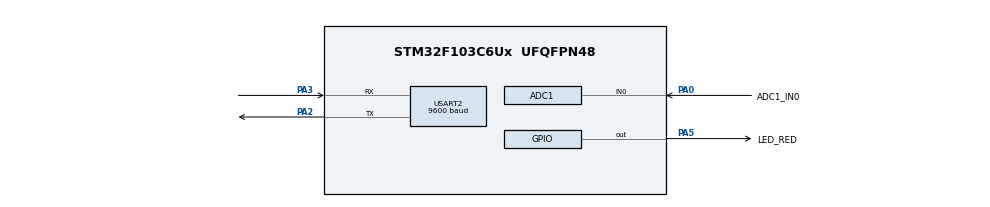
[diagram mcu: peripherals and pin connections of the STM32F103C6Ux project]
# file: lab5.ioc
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ADC1.Channel-1\#ChannelRegularConversion=ADC_CHANNEL_0
ADC1.ContinuousConvMode=ENABLE
ADC1.NbrOfConversionFlag=1
ADC1.Rank-1\#ChannelRegularConversion=1
ADC1.SamplingTime-1\#ChannelRegularConversion=ADC_SAMPLETIME_1CYCLE_5
ADC1.master=1
Mcu.Family=STM32F1
Mcu.Name=STM32F103C6Ux
Mcu.Package=UFQFPN48
NVIC.PriorityGroup=NVIC_PRIORITYGROUP_4
NVIC.TIM2_IRQn=true\:0\:0\:false\:false\:true\:true\:true
NVIC.USART2_IRQn=true\:0\:0\:false\:false\:true\:true\:true
PA0-WKUP.GPIO_Label=ADC1_IN0
PA0-WKUP.Signal=SharedAnalog_PA0
PA2.Mode=Asynchronous
PA2.Signal=USART2_TX
PA3.Mode=Asynchronous
PA3.Signal=USART2_RX
PA5.GPIO_Label=LED_RED
PA5.Signal=GPIO_Output
ProjectManager.HeapSize=0x200
ProjectManager.StackSize=0x400
ProjectManager.TargetToolchain=STM32CubeIDE
RCC.APB1Freq_Value=8000000
RCC.APB2Freq_Value=8000000
SH.SharedAnalog_PA0.0=GPIO_Analog
SH.SharedAnalog_PA0.1=ADC1_IN0,IN0
TIM2.Period=9
TIM2.Prescaler=7999
USART2.BaudRate=9600
USART2.VirtualMode=VM_ASYNC
VP_SYS_VS_ND.Mode=No_Debug
VP_TIM2_VS_ClockSourceINT.Mode=Internal
board=custom

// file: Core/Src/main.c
/* USER CODE BEGIN Header */
/**
  ******************************************************************************
  * @file           : main.c
  * @brief          : Main program body
  ******************************************************************************
  * @attention
  *
  * <h2><center>&copy; Copyright (c) 2022 STMicroelectronics.
  * All rights reserved.</center></h2>
  *
  * This software component is licensed by ST under BSD 3-Clause license,
  * the "License"; You may not use this file except in compliance with the
  * License. You may obtain a copy of the License at:
  *                        opensource.org/licenses/BSD-3-Clause
  *
  ******************************************************************************
  */
/* USER CODE END Header */
#include "main.h"

/* USER CODE BEGIN Includes */
#include <stdio.h>
#include "software_timer.h"
#include "global.h"
/* USER CODE END Includes */

ADC_HandleTypeDef hadc1;

TIM_HandleTypeDef htim2;

UART_HandleTypeDef huart2;

void SystemClock_Config(void);
static void MX_GPIO_Init(void);
static void MX_ADC1_Init(void);
static void MX_USART2_UART_Init(void);
static void MX_TIM2_Init(void);

/* USER CODE BEGIN 0 */
#define MAX_BUFFER_SIZE 30
uint8_t temp = 0;
uint8_t buffer[MAX_BUFFER_SIZE];
uint8_t index_buffer=0;
uint8_t buffer_flag=0;

void HAL_UART_RxCpltCallback ( UART_HandleTypeDef * huart ) {
if( huart -> Instance == USART2 ) {
     HAL_UART_Transmit (& huart2 , & temp , 1 , 50) ;
	 buffer[index_buffer++]=temp;
	 if(index_buffer == MAX_BUFFER_SIZE){
		 index_buffer=0;
	 }
	 buffer_flag=1;
	 HAL_UART_Receive_IT (& huart2 , & temp , 1) ;
}
}

int status_mess = INIT ;
int messenger = INIT ;
void command_parser(){
	int index = 0;
	if(!index_buffer) index = MAX_BUFFER_SIZE - 1 ;
	if(index_buffer)  index = index_buffer - 1 ;
	switch (status_mess) {
		case INIT:
			if(buffer[index] == '!') status_mess = _;
			break;
		case _:
			if(buffer[index] == '!') status_mess = _;
			else if (buffer[index] == 'R') status_mess = _R;
			else if (buffer[index] == 'O') status_mess = _O ;
			else status_mess = INIT;
			break;
		case _R:
			if(buffer[index] == 'S') status_mess = _RS;
			else status_mess = INIT ;
			break ;
		case _RS:
			if(buffer[index] == 'T') status_mess = _RST;
			else status_mess = INIT ;
			break;
		case _RST:
			if(buffer[index] == '#') {
				status_mess = _RST_;
				messenger = SEND ;
			}
			else status_mess = INIT  ;
			break;
		case _RST_:
			if(buffer[index]=='!') status_mess=_;
			if(buffer[index]!='!') status_mess=INIT;
//			messenger = INIT;
			break;
		case _O:
			if(buffer[index] == 'K') status_mess = _OK;
			else status_mess = INIT;
			break;
		case _OK:
			if(buffer[index] == '#') {
				status_mess = _OK_;
				messenger = END ;
			}
			else status_mess = INIT;
			break;
		case _OK_:
			if(buffer[index]=='!') status_mess=_;
			if(buffer[index]!='!') status_mess=INIT;
			break;
		default:
			break;
	}
}
uint32_t ADC_value = -99 ;
uint32_t ADC_temp =  -99 ;
char str[20] ;
void fsm_communication_uart(){
	switch (messenger) {
		case INIT:
			break;
		case SEND:
			ADC_value = HAL_ADC_GetValue (&hadc1) ;
			ADC_temp = ADC_value;
			HAL_UART_Transmit(&huart2, (void*)str, sprintf(str, "\r\n!ADC=%ld#\r\n",ADC_value), 1000);
			if(status_mess == _OK_){
				messenger = END;
			}else{
				setTimer1(3000);
				messenger = WAIT;
			}
			break;
		case END:
			HAL_UART_Transmit(&huart2, (void*)str, sprintf(str, "\r\n%s\r\n", "END"), 1000);
			messenger = INIT ;
			break;
		case WAIT:
			if(timer1_flag >= 1) {
				setTimer1(3000) ;
				if(ADC_temp == -99){
					HAL_UART_Transmit(&huart2, (void*)str, sprintf(str, "\r\n!ADC=%ld#\r\n",ADC_temp), 1000);
				}else{
					HAL_UART_Transmit(&huart2, (void*)str, sprintf(str, "\r\n!ADC=%ld#\r\n",ADC_value), 1000);
				}

			}
			break;
		default:
			break;
	}
}
/* USER CODE END 0 */

int main(void)
{

  /* MCU Configuration--------------------------------------------------------*/

  /* Reset of all peripherals, Initializes the Flash interface and the Systick. */
  HAL_Init();

  /* Configure the system clock */
  SystemClock_Config();

  /* Initialize all configured peripherals */
  MX_GPIO_Init();
  MX_ADC1_Init();
  MX_USART2_UART_Init();
  MX_TIM2_Init();
  /* USER CODE BEGIN 2 */
  HAL_TIM_Base_Start_IT(&htim2);
  HAL_UART_Receive_IT(&huart2, &temp, 1);
  HAL_ADC_Start(&hadc1);
  /* USER CODE END 2 */

  /* Infinite loop */
  /* USER CODE BEGIN WHILE */
//  setTimer1(1000) ;

  while (1){

    /* USER CODE END WHILE */
	  if(buffer_flag == 1){
		  command_parser();
		  buffer_flag = 0;
	  }
	  fsm_communication_uart();
  }
}

void SystemClock_Config(void)
{
  RCC_OscInitTypeDef RCC_OscInitStruct = {0};
  RCC_ClkInitTypeDef RCC_ClkInitStruct = {0};
  RCC_PeriphCLKInitTypeDef PeriphClkInit = {0};

  /** Initializes the RCC Oscillators according to the specified parameters
  * in the RCC_OscInitTypeDef structure.
  */
  RCC_OscInitStruct.OscillatorType = RCC_OSCILLATORTYPE_HSI;
  RCC_OscInitStruct.HSIState = RCC_HSI_ON;
  RCC_OscInitStruct.HSICalibrationValue = RCC_HSICALIBRATION_DEFAULT;
  RCC_OscInitStruct.PLL.PLLState = RCC_PLL_NONE;
  if (HAL_RCC_OscConfig(&RCC_OscInitStruct) != HAL_OK)
  {
    Error_Handler();
  }
  /** Initializes the CPU, AHB and APB buses clocks
  */
  RCC_ClkInitStruct.ClockType = RCC_CLOCKTYPE_HCLK|RCC_CLOCKTYPE_SYSCLK
                              |RCC_CLOCKTYPE_PCLK1|RCC_CLOCKTYPE_PCLK2;
  RCC_ClkInitStruct.SYSCLKSource = RCC_SYSCLKSOURCE_HSI;
  RCC_ClkInitStruct.AHBCLKDivider = RCC_SYSCLK_DIV1;
  RCC_ClkInitStruct.APB1CLKDivider = RCC_HCLK_DIV1;
  RCC_ClkInitStruct.APB2CLKDivider = RCC_HCLK_DIV1;

  if (HAL_RCC_ClockConfig(&RCC_ClkInitStruct, FLASH_LATENCY_0) != HAL_OK)
  {
    Error_Handler();
  }
  PeriphClkInit.PeriphClockSelection = RCC_PERIPHCLK_ADC;
  PeriphClkInit.AdcClockSelection = RCC_ADCPCLK2_DIV2;
  if (HAL_RCCEx_PeriphCLKConfig(&PeriphClkInit) != HAL_OK)
  {
    Error_Handler();
  }
}

static void MX_ADC1_Init(void)
{

  ADC_ChannelConfTypeDef sConfig = {0};

  /** Common config
  */
  hadc1.Instance = ADC1;
  hadc1.Init.ScanConvMode = ADC_SCAN_DISABLE;
  hadc1.Init.ContinuousConvMode = ENABLE;
  hadc1.Init.DiscontinuousConvMode = DISABLE;
  hadc1.Init.ExternalTrigConv = ADC_SOFTWARE_START;
  hadc1.Init.DataAlign = ADC_DATAALIGN_RIGHT;
  hadc1.Init.NbrOfConversion = 1;
  if (HAL_ADC_Init(&hadc1) != HAL_OK)
  {
    Error_Handler();
  }
  /** Configure Regular Channel
  */
  sConfig.Channel = ADC_CHANNEL_0;
  sConfig.Rank = ADC_REGULAR_RANK_1;
  sConfig.SamplingTime = ADC_SAMPLETIME_1CYCLE_5;
  if (HAL_ADC_ConfigChannel(&hadc1, &sConfig) != HAL_OK)
  {
    Error_Handler();
  }

}

static void MX_TIM2_Init(void)
{

  TIM_ClockConfigTypeDef sClockSourceConfig = {0};
  TIM_MasterConfigTypeDef sMasterConfig = {0};

  htim2.Instance = TIM2;
  htim2.Init.Prescaler = 7999;
  htim2.Init.CounterMode = TIM_COUNTERMODE_UP;
  htim2.Init.Period = 9;
  htim2.Init.ClockDivision = TIM_CLOCKDIVISION_DIV1;
  htim2.Init.AutoReloadPreload = TIM_AUTORELOAD_PRELOAD_DISABLE;
  if (HAL_TIM_Base_Init(&htim2) != HAL_OK)
  {
    Error_Handler();
  }
  sClockSourceConfig.ClockSource = TIM_CLOCKSOURCE_INTERNAL;
  if (HAL_TIM_ConfigClockSource(&htim2, &sClockSourceConfig) != HAL_OK)
  {
    Error_Handler();
  }
  sMasterConfig.MasterOutputTrigger = TIM_TRGO_RESET;
  sMasterConfig.MasterSlaveMode = TIM_MASTERSLAVEMODE_DISABLE;
  if (HAL_TIMEx_MasterConfigSynchronization(&htim2, &sMasterConfig) != HAL_OK)
  {
    Error_Handler();
  }

}

static void MX_USART2_UART_Init(void)
{

  huart2.Instance = USART2;
  huart2.Init.BaudRate = 9600;
  huart2.Init.WordLength = UART_WORDLENGTH_8B;
  huart2.Init.StopBits = UART_STOPBITS_1;
  huart2.Init.Parity = UART_PARITY_NONE;
  huart2.Init.Mode = UART_MODE_TX_RX;
  huart2.Init.HwFlowCtl = UART_HWCONTROL_NONE;
  huart2.Init.OverSampling = UART_OVERSAMPLING_16;
  if (HAL_UART_Init(&huart2) != HAL_OK)
  {
    Error_Handler();
  }

}

static void MX_GPIO_Init(void)
{
  GPIO_InitTypeDef GPIO_InitStruct = {0};

  /* GPIO Ports Clock Enable */
  __HAL_RCC_GPIOA_CLK_ENABLE();

  /*Configure GPIO pin Output Level */
  HAL_GPIO_WritePin(LED_RED_GPIO_Port, LED_RED_Pin, GPIO_PIN_RESET);

  /*Configure GPIO pin : LED_RED_Pin */
  GPIO_InitStruct.Pin = LED_RED_Pin;
  GPIO_InitStruct.Mode = GPIO_MODE_OUTPUT_PP;
  GPIO_InitStruct.Pull = GPIO_NOPULL;
  GPIO_InitStruct.Speed = GPIO_SPEED_FREQ_LOW;
  HAL_GPIO_Init(LED_RED_GPIO_Port, &GPIO_InitStruct);

}

/* USER CODE BEGIN 4 */
void HAL_TIM_PeriodElapsedCallback ( TIM_HandleTypeDef * htim ){
	timerRun();
}
/* USER CODE END 4 */

void Error_Handler(void)
{
  __disable_irq();
  while (1)
  {
  }
}

/************************ (C) COPYRIGHT STMicroelectronics *****END OF FILE****/
